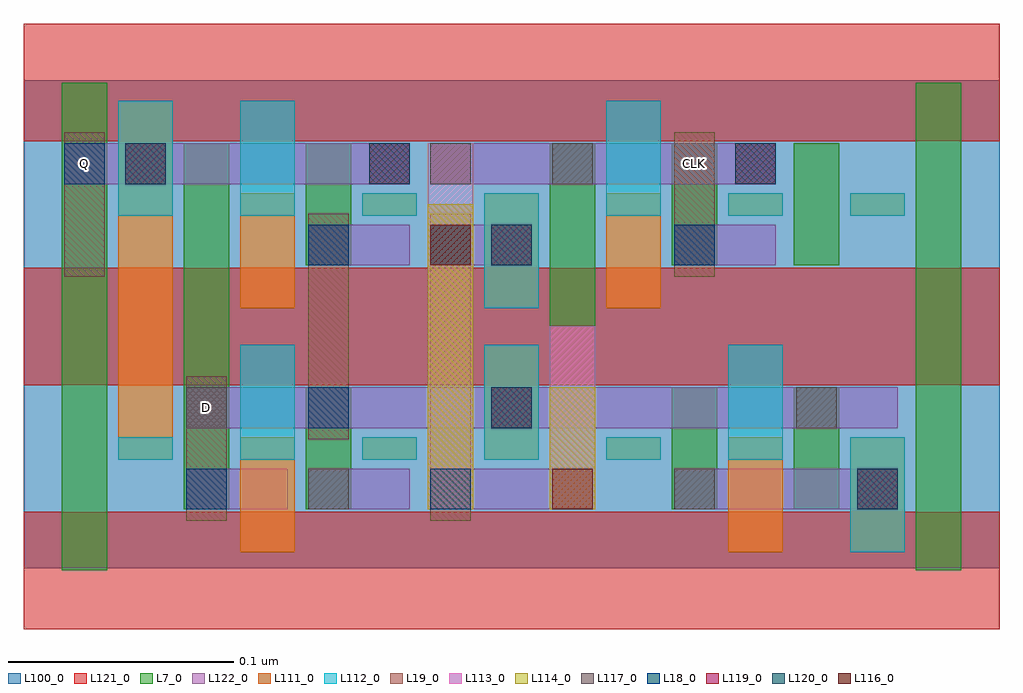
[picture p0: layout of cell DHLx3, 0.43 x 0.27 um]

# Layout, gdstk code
import gdstk
lib = gdstk.Library(unit=1e-6, precision=2.5e-10)
def R(c, l, rs):  # rectangles x0, y0, x1, y1
    for r in rs: c.add(gdstk.rectangle(r[:2], r[2:], *l))
def A(c, l, x, y, w, h, nx, ny, dx, dy):  # array of equal rectangles
    R(c, l, [(x+i*dx, y+j*dy, x+i*dx+w, y+j*dy+h) for i in range(nx) for j in range(ny)])
L7_0 = (7, 0)
L18_0 = (18, 0)
L19_0 = (19, 0)
L100_0 = (100, 0)
L111_0 = (111, 0)
L112_0 = (112, 0)
L113_0 = (113, 0)
L114_0 = (114, 0)
L116_0 = (116, 0)
L117_0 = (117, 0)
L119_0 = (119, 0)
L120_0 = (120, 0)
L121_0 = (121, 0)
L122_0 = (122, 0)

dhlx3 = lib.new_cell('DHLx3')
R(dhlx3, L7_0, [(0.017,0,0.037,0.108), (0.395,0,0.415,0.108), (0.071,0.027,0.091,0.108), (0.125,0.027,0.145,0.081), (0.287,0.027,0.307,0.081), (0.341,0.027,0.361,0.081), (0.017,0.108,0.037,0.216), (0.071,0.108,0.091,0.189), (0.233,0.108,0.253,0.189), (0.395,0.108,0.415,0.216), (0.125,0.135,0.145,0.189), (0.287,0.135,0.307,0.189), (0.341,0.135,0.361,0.189)])
R(dhlx3, L18_0, [(0.072,0.027,0.09,0.045), (0.18,0.027,0.198,0.045), (0.126,0.063,0.144,0.081), (0.126,0.135,0.144,0.153), (0.18,0.135,0.198,0.153), (0.288,0.135,0.306,0.153), (0.018,0.171,0.036,0.189)])
R(dhlx3, L19_0, [(0.072,0.022,0.09,0.086), (0.18,0.022,0.198,0.158), (0.126,0.058,0.144,0.158), (0.018,0.13,0.036,0.194), (0.288,0.13,0.306,0.194)])
R(dhlx3, L100_0, [(0,0.001,0.432,0.217)])
R(dhlx3, L111_0, [(0.096,0.008,0.12,0.059), (0.312,0.008,0.336,0.059), (0.366,0.008,0.39,0.059), (0.042,0.049,0.066,0.108), (0.15,0.049,0.174,0.059), (0.204,0.049,0.228,0.1), (0.258,0.049,0.282,0.059), (0.042,0.108,0.066,0.208), (0.096,0.116,0.12,0.167), (0.204,0.116,0.228,0.167), (0.258,0.116,0.282,0.167), (0.15,0.157,0.174,0.167), (0.312,0.157,0.336,0.167), (0.366,0.157,0.39,0.167)])
A(dhlx3, L112_0, 0.042, 0.049, 0.024, 0.01, 3, 1, 0.108, 0)
A(dhlx3, L112_0, 0.096, 0.049, 0.024, 0.051, 3, 1, 0.108, 0)
R(dhlx3, L112_0, [(0.366,0.008,0.39,0.059), (0.204,0.116,0.228,0.167), (0.042,0.157,0.066,0.208), (0.096,0.157,0.12,0.208), (0.15,0.157,0.174,0.167), (0.258,0.157,0.282,0.208), (0.312,0.157,0.336,0.167), (0.366,0.157,0.39,0.167)])
R(dhlx3, L113_0, [(0.179,0.027,0.199,0.108), (0.233,0.027,0.253,0.108), (0.179,0.108,0.199,0.189)])
R(dhlx3, L114_0, [(0.179,0.027,0.199,0.108), (0.233,0.027,0.253,0.081), (0.179,0.108,0.199,0.162)])
R(dhlx3, L116_0, [(0.234,0.027,0.252,0.045), (0.18,0.135,0.198,0.153)])
R(dhlx3, L117_0, [(0.126,0.027,0.144,0.045), (0.288,0.027,0.306,0.045), (0.072,0.063,0.09,0.081), (0.342,0.063,0.36,0.081), (0.126,0.135,0.144,0.153), (0.288,0.135,0.306,0.153), (0.18,0.171,0.198,0.189), (0.234,0.171,0.252,0.189)])
R(dhlx3, L119_0, [(0.369,0.027,0.387,0.045), (0.207,0.063,0.225,0.081), (0.207,0.135,0.225,0.153), (0.045,0.171,0.063,0.189), (0.153,0.171,0.171,0.189), (0.315,0.171,0.333,0.189)])
R(dhlx3, L120_0, [(0.369,0.027,0.387,0.045), (0.207,0.063,0.225,0.081), (0.207,0.135,0.225,0.153), (0.045,0.171,0.063,0.189), (0.153,0.171,0.171,0.189), (0.315,0.171,0.333,0.189)])
A(dhlx3, L121_0, 0, -0.026, 0.432, 0.052, 1, 3, 0, 0.108)
R(dhlx3, L122_0, [(0.072,0.027,0.117,0.045), (0.126,0.027,0.171,0.045), (0.18,0.027,0.252,0.045), (0.288,0.027,0.387,0.045), (0.072,0.063,0.387,0.081), (0.126,0.135,0.171,0.153), (0.18,0.135,0.225,0.153), (0.288,0.135,0.333,0.153), (0.018,0.171,0.171,0.189), (0.18,0.171,0.333,0.189)])
dhlx3.add(gdstk.Label('Q', (0.027,0.18), layer=19, texttype=251))
dhlx3.add(gdstk.Label('D', (0.081,0.072), layer=19, texttype=251))
dhlx3.add(gdstk.Label('CLK', (0.297,0.18), layer=19, texttype=251))

lib.write_gds('DHLx3.gds')
